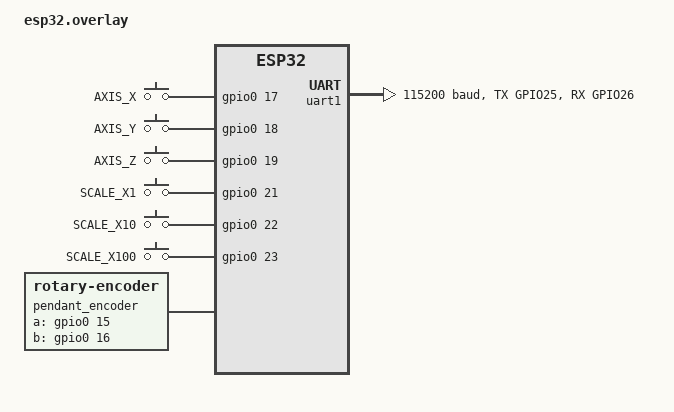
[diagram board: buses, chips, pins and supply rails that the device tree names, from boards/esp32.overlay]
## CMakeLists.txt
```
cmake_minimum_required(VERSION 3.20.0)

set(DTC_OVERLAY_FILE "${CMAKE_CURRENT_SOURCE_DIR}/boards/esp32.overlay")
set(DTS_BINDING_DIR "${CMAKE_CURRENT_SOURCE_DIR}/dts/bindings")

find_package(Zephyr REQUIRED HINTS $ENV{ZEPHYR_BASE})

set(CMAKE_CXX_STANDARD 20)
set(CMAKE_CXX_STANDARD_REQUIRED ON)
enable_language(CXX)

project(cnc-pendant)

set(SRC_DIR ${CMAKE_CURRENT_SOURCE_DIR}/src)

file(GLOB SOURCES "${SRC_DIR}/*.cpp")

target_sources(app PRIVATE ${SOURCES})
```

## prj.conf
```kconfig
# Enable MCUboot bootloader for firmware updates
CONFIG_BOOTLOADER_MCUBOOT=y

# Enable C++ support
CONFIG_CPP=y
CONFIG_STD_CPP20=y
CONFIG_REQUIRES_FULL_LIBCPP=y

# Debug
CONFIG_LOG=y

# Enable GPIO support for reading switch inputs & rotary encoder
CONFIG_GPIO=y

# Enable serial port support & pin control
CONFIG_SERIAL=y
CONFIG_PINCTRL=y

# Enable floating point unit support
CONFIG_FPU=y
```

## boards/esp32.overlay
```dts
/ {
    compatible = "espressif,esp32";

    pendant_switches {
        compatible = "gpio-keys";
        status = "okay";

        /* Axis rotary switch (3-position) */
        axis_x {
            gpios = <&gpio0 17 GPIO_ACTIVE_HIGH>;
            label = "AXIS_X";
            zephyr,code = <1>;
        };
        axis_y {
            gpios = <&gpio0 18 GPIO_ACTIVE_HIGH>;
            label = "AXIS_Y";
            zephyr,code = <2>;
        };
        axis_z {
            gpios = <&gpio0 19 GPIO_ACTIVE_HIGH>;
            label = "AXIS_Z";
            zephyr,code = <3>;
        };

        /* Scale rotary switch (3-position) */
        scale_x1 {
            gpios = <&gpio0 21 GPIO_ACTIVE_HIGH>;
            label = "SCALE_X1";
            zephyr,code = <4>;
        };
        scale_x10 {
            gpios = <&gpio0 22 GPIO_ACTIVE_HIGH>;
            label = "SCALE_X10";
            zephyr,code = <5>;
        };
        scale_x100 {
            gpios = <&gpio0 23 GPIO_ACTIVE_HIGH>;
            label = "SCALE_X100";
            zephyr,code = <6>;
        };
    };

    pendant_encoder: rotary-encoder {
        compatible = "rotary-encoder";
        status = "okay";
        a-gpios = <&gpio0 15 GPIO_ACTIVE_HIGH>;
        b-gpios = <&gpio0 16 GPIO_ACTIVE_HIGH>;
    };
};

&pinctrl {
    uart1_default: uart1_default {
        group1 {
            pinmux = <UART1_TX_GPIO25>,
                     <UART1_RX_GPIO26>;
        };
    };
};

&uart1 {
    status = "okay";
    current-speed = <115200>;
    pinctrl-0 = <&uart1_default>;
    pinctrl-names = "default";
};
```

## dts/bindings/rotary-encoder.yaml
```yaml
description: |
  A rotary encoder with two GPIO pins for quadrature encoding (Phase A and Phase B).

compatible: "rotary-encoder"

properties:
  a-gpios:
    type: phandle-array
    required: true
    description: |
      GPIO pin connected to the encoder's Phase A signal.
  b-gpios:
    type: phandle-array
    required: true
    description: |
      GPIO pin connected to the encoder's Phase B signal.
```

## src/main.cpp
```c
#include "pendant_controller.h"
#include "pendant_switches.h"
#include "pendant_encoder.h"
#include "uart_interface.h"
#include <zephyr/kernel.h>
#include <zephyr/device.h>
#include <zephyr/logging/log.h>

LOG_MODULE_REGISTER(cnc_pendant);

#define UART_DEVICE DT_NODELABEL(uart1)
PINCTRL_DT_DEFINE(UART_DEVICE);

static const UARTInterface::UARTConfig uart_config = {
    .dev = DEVICE_DT_GET(UART_DEVICE),
    .pinctrl = PINCTRL_DT_DEV_CONFIG_GET(UART_DEVICE),
};

static const PendantSwitches::SwitchConfig switch_config = {
    .axis_x = GPIO_DT_SPEC_GET(DT_PATH(pendant_switches, axis_x), gpios),
    .axis_y = GPIO_DT_SPEC_GET(DT_PATH(pendant_switches, axis_y), gpios),
    .axis_z = GPIO_DT_SPEC_GET(DT_PATH(pendant_switches, axis_z), gpios),
    .scale_x1 = GPIO_DT_SPEC_GET(DT_PATH(pendant_switches, scale_x1), gpios),
    .scale_x10 = GPIO_DT_SPEC_GET(DT_PATH(pendant_switches, scale_x10), gpios),
    .scale_x100 = GPIO_DT_SPEC_GET(DT_PATH(pendant_switches, scale_x100), gpios),
};

static const PendantEncoder::EncoderConfig encoder_config = {
    .a = GPIO_DT_SPEC_GET(DT_NODELABEL(pendant_encoder), a_gpios),
    .b = GPIO_DT_SPEC_GET(DT_NODELABEL(pendant_encoder), b_gpios),
};

int main() {
    LOG_INF("CNC Pendant (%s)", CONFIG_BOARD_TARGET);

    PendantSwitches switches(switch_config);
    PendantEncoder encoder(encoder_config);
    UARTInterface uart(uart_config);

    PendantController controller(switches, encoder, uart);
    controller.run();

    return 0;
}
```

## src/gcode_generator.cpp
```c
#include "gcode_generator.h"
#include <sstream>

void GCodeGenerator::set_params(MotionParams params) {
    m_params = params;
}

std::optional<std::string> GCodeGenerator::jog(int steps) const {
    if (m_params.axis != 'X' && m_params.axis != 'Y' && m_params.axis != 'Z') {
        // Invalid axis
        return std::nullopt;
    }

    if (steps == 0 || m_params.scale_factor <= 0) {
        // No movement or invalid scale
        return std::nullopt;
    }

    std::stringstream command{};
    command.precision(3);  // 3 decimal places

    command << "$J="  // GRBL jog command
            << "G91 "  // Relative positioning
            << "G21 "  // Millimeters
            << m_params.axis << steps_to_scaled_mm(steps)  // Scaled distance
            << " F" << feed_rate;  // Feed rate

    return command.str();
}

float GCodeGenerator::steps_to_scaled_mm(int steps) const noexcept {
    return step_size * steps * m_params.scale_factor;
}
```

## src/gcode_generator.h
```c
#pragma once
#include <optional>
#include <string>

class GCodeGenerator {
public:
    struct MotionParams {
        char axis { '0' };
        int scale_factor { 0 };
    };

    void set_params(MotionParams params) noexcept;

    std::optional<std::string> jog(int steps) const;

private:
    MotionParams m_params;

    static constexpr int feed_rate { 1000 };  // 1000mm/min
    static constexpr float step_size { 0.01f };  // 0.01mm per step

    float steps_to_scaled_mm(int steps) const noexcept;
};
```

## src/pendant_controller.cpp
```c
#include "pendant_controller.h"
#include <zephyr/kernel.h>
#include <zephyr/logging/log.h>

LOG_MODULE_REGISTER(pendant_controller);

PendantController::PendantController(PendantSwitches& switches, PendantEncoder& encoder, UARTInterface& uart) : m_switches(switches), m_encoder(encoder), m_uart(uart) {}

void PendantController::run() {
    LOG_INF("Starting pendant controller...");

    while(true) {
        const auto axis { m_switches.get_axis() };
        const auto scale_factor { m_switches.get_scale_factor() };
        const int pos { m_encoder.get_position() };

        if (pos && axis) {
            m_gcode_generator.set_params({axis.value(), scale_factor.value()});
            const auto gcode{ m_gcode_generator.jog(pos) };

            if (gcode.has_value())
                m_uart.send(gcode.value() + '\n');
        }

        // Always reset the encoder position to prevent accumulation when the
        // pendant is not activated with the side button
        m_encoder.reset_position(); 

        k_msleep(20);
    }
}
```

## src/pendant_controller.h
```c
#pragma once
#include "gcode_generator.h"
#include "pendant_switches.h"
#include "pendant_encoder.h"
#include "uart_interface.h"

class PendantController {
public:
    PendantController(PendantSwitches& switches, PendantEncoder& encoder, UARTInterface& uart);

    void run();

private:
    GCodeGenerator m_gcode_generator{};
    PendantSwitches& m_switches;
    PendantEncoder& m_encoder;
    UARTInterface& m_uart;
};
```

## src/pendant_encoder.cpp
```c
#include "pendant_encoder.h"
#include <zephyr/logging/log.h>
#include <initializer_list>

LOG_MODULE_REGISTER(pendant_encoder);

PendantEncoder* PendantEncoder::instance { nullptr };

static void encoder_isr(const struct device *dev, struct gpio_callback *cb, uint32_t pins) {   
    if (!PendantEncoder::instance) {
        LOG_ERR("Encoder instance not available");
        return;
    }

    const int a { gpio_pin_get_dt(&PendantEncoder::instance->m_config.a) };
    const int b { gpio_pin_get_dt(&PendantEncoder::instance->m_config.b) };

    if (a != b) {
        PendantEncoder::instance->m_position += 1;  // Clockwise
    } else {
        PendantEncoder::instance->m_position -= 1;  // Counterclockwise
    }
}

PendantEncoder::PendantEncoder(const EncoderConfig& config) : m_position(0), m_config(config) {
    instance = this;

    for(const auto *pin : {&m_config.a, &m_config.b}) {
        if (!device_is_ready(pin->port) || gpio_pin_configure_dt(pin, GPIO_INPUT) < 0) {
            LOG_ERR("GPIO not ready or failed to configure encoder pin");
            k_fatal_halt(0);
        }

        if(gpio_pin_interrupt_configure_dt(pin, GPIO_INT_EDGE_BOTH) < 0) {
            LOG_ERR("Failed to configure encoder pin interrupt");
            k_fatal_halt(0);
        }
    }

    gpio_init_callback(&m_gpio_cb_a, encoder_isr, BIT(m_config.a.pin));
    gpio_add_callback(m_config.a.port, &m_gpio_cb_a);

    LOG_DBG("Pendant encoder initialized");
}

int PendantEncoder::get_position() const {
    return m_position;
}

void PendantEncoder::reset_position() {
    m_position = 0;
}
```

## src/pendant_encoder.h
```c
#pragma once
#include <zephyr/device.h>
#include <zephyr/drivers/gpio.h>

class PendantEncoder {
public:
    struct EncoderConfig {
        gpio_dt_spec a;
        gpio_dt_spec b;
    };

    PendantEncoder(const EncoderConfig& config);

    int get_position() const;
    void reset_position();

    static PendantEncoder* instance;

    volatile int m_position;
    EncoderConfig m_config;

private:
    struct gpio_callback m_gpio_cb_a;
    struct gpio_callback m_gpio_cb_b;
};
```

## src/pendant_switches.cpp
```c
#include "pendant_switches.h"
#include <zephyr/logging/log.h>
#include <initializer_list>

LOG_MODULE_REGISTER(pendant_switches);

PendantSwitches::PendantSwitches(const SwitchConfig& config) : m_config(config) {
    for(const auto *pin : {&m_config.axis_x, &m_config.axis_y, &m_config.axis_z, &m_config.scale_x1, &m_config.scale_x10, &m_config.scale_x100 }) {
        if (!device_is_ready(pin->port) || gpio_pin_configure_dt(pin, GPIO_INPUT | GPIO_PULL_UP) < 0) {
            LOG_ERR("Failed to configure switch pin");
            k_fatal_halt(0);
        }
    }

    LOG_DBG("Pendant switches initialized");
}

std::optional<char> PendantSwitches::get_axis() {
    const int x_state { gpio_pin_get_dt(&m_config.axis_x) };
    const int y_state { gpio_pin_get_dt(&m_config.axis_y) };
    const int z_state { gpio_pin_get_dt(&m_config.axis_z) };

    if (x_state < 0 || y_state < 0 || z_state < 0) {
        LOG_ERR("Failed to read axis GPIOs");
        return std::nullopt;  // Default to off on error
    }

    if (x_state == 0) {
        return 'X';
    } else if (y_state == 0) {
        return 'Y';
    } else if (z_state == 0) {
        return 'Z';
    } else {
        return std::nullopt;  // Off position or pendant not active (no GPIOs active)
    }
}

std::optional<int> PendantSwitches::get_scale_factor() {
    const int x1_state { gpio_pin_get_dt(&m_config.scale_x1) };
    const int x10_state { gpio_pin_get_dt(&m_config.scale_x10) };
    const int x100_state { gpio_pin_get_dt(&m_config.scale_x100) };

    if (x1_state < 0 || x10_state < 0 || x100_state < 0) {
        LOG_ERR("Failed to read scale factor GPIOs");
        return std::nullopt;
    }

    if (x1_state == 0) {
        return 1;
    } else if (x10_state == 0) {
        return 10;
    } else if (x100_state == 0) {
        return 100;
    } else {
        return std::nullopt;  // Pendant not active (no GPIOs active)
    }
}
```

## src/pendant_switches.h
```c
#pragma once
#include <zephyr/drivers/gpio.h>
#include <optional>

class PendantSwitches {
public:
    struct SwitchConfig {
        gpio_dt_spec axis_x;
        gpio_dt_spec axis_y;
        gpio_dt_spec axis_z;

        gpio_dt_spec scale_x1;
        gpio_dt_spec scale_x10;
        gpio_dt_spec scale_x100;   
    };

    PendantSwitches(const SwitchConfig& config);

    std::optional<char> get_axis();
    std::optional<int> get_scale_factor();

private:
    const SwitchConfig m_config;
};
```

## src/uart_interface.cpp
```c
#include "uart_interface.h"
#include <zephyr/kernel.h>
#include <zephyr/logging/log.h>

LOG_MODULE_REGISTER(uart_interface);

UARTInterface::UARTInterface(const UARTConfig& config) : m_config(config) {
    if (!device_is_ready(m_config.dev)) {
        LOG_ERR("UART device not ready");
        k_fatal_halt(0);
    }

    if (pinctrl_apply_state(m_config.pinctrl, PINCTRL_STATE_DEFAULT) < 0 ||
        uart_configure(m_config.dev, &m_uart_config) < 0) {
        LOG_ERR("Failed to configure UART");
        k_fatal_halt(0);
    }

    LOG_DBG("UART interface initialized");
}

void UARTInterface::send(std::string_view data) const {
    for (char c : data) {
        uart_poll_out(m_config.dev, static_cast<unsigned char>(c));
    }
}
```

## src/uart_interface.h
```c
#pragma once
#include <zephyr/drivers/uart.h>
#include <zephyr/drivers/pinctrl.h>
#include <string>

class UARTInterface {
public:
    struct UARTConfig {
        const struct device* dev;
        const struct pinctrl_dev_config* pinctrl;
    };

    UARTInterface(const UARTConfig& config);

    void send(std::string_view data) const;

private:
    const UARTConfig m_config;

    const uart_config m_uart_config {
        .baudrate = 115200,
        .parity = UART_CFG_PARITY_NONE,
        .stop_bits = UART_CFG_STOP_BITS_1,
        .data_bits = UART_CFG_DATA_BITS_8,
        .flow_ctrl = UART_CFG_FLOW_CTRL_NONE,
    };
};       
```
